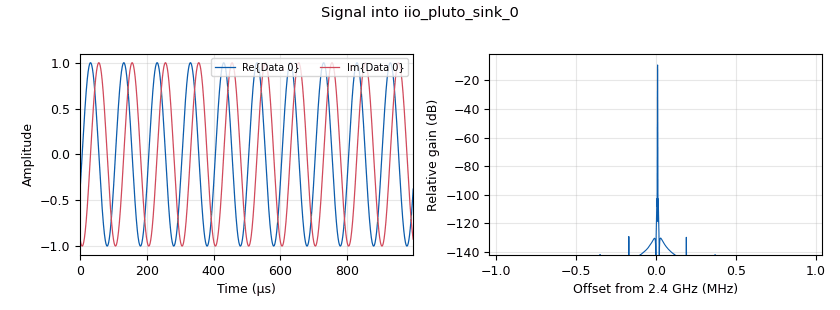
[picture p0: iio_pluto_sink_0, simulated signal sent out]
options:
  parameters:
    generate_options: qt_gui
    id: PlutoTestSine_38
    output_language: python
    title: ECE531 Lab2 Loopback
  states: {}

blocks:
- name: samp_rate
  id: variable
  parameters:
    value: '2084000'
  states: {}
- name: variable_qtgui_range_0
  id: variable_qtgui_range
  parameters:
    label: Tone Frequency (Hz)
    start: '1'
    step: '1000'
    stop: '100000'
    value: '10000'
  states: {}
- name: variable_qtgui_range_1
  id: variable_qtgui_range
  parameters:
    label: Rx Gain (dB)
    start: '0'
    step: '1'
    stop: '71'
    value: '20'
  states: {}
- name: analog_sig_source_x_0
  id: analog_sig_source_x
  parameters:
    amp: '1'
    freq: variable_qtgui_range_0
    offset: '0'
    phase: '0'
    samp_rate: samp_rate
    type: complex
    waveform: analog.GR_COS_WAVE
  states: {}
- name: iio_pluto_sink_0
  id: iio_pluto_sink
  parameters:
    attenuation1: '10.0'
    bandwidth: '20000000'
    buffer_size: '32768'
    cyclic: 'True'
    filter_source: '''Auto'''
    frequency: '2400000000'
    samplerate: samp_rate
    type: fc32
    uri: 192.168.2.1
  states: {}
- name: iio_pluto_source_0
  id: iio_pluto_source
  parameters:
    bandwidth: '20000000'
    bbdc: 'True'
    buffer_size: '32768'
    filter_source: '''Auto'''
    frequency: '2400000000'
    gain1: '''manual'''
    manual_gain1: variable_qtgui_range_1
    quadrature: 'True'
    rfdc: 'True'
    samplerate: samp_rate
    type: fc32
    uri: 192.168.2.1
  states: {}
- name: qtgui_freq_sink_x_0
  id: qtgui_freq_sink_x
  parameters:
    bw: samp_rate
    fc: '0'
    fftsize: '1024'
    type: complex
  states: {state: disabled}
- name: qtgui_sink_x_0
  id: qtgui_sink_x
  parameters:
    bw: samp_rate
    fc: '0'
    fftsize: '1024'
    type: complex
  states: {}
- name: qtgui_time_sink_x_0
  id: qtgui_time_sink_x
  parameters:
    size: '1024'
    srate: samp_rate
    type: complex
  states: {state: disabled}

connections:
- [analog_sig_source_x_0, '0', iio_pluto_sink_0, '0']
- [iio_pluto_source_0, '0', qtgui_sink_x_0, '0']

metadata:
  file_format: 1
  grc_version: 3.10.9.2
